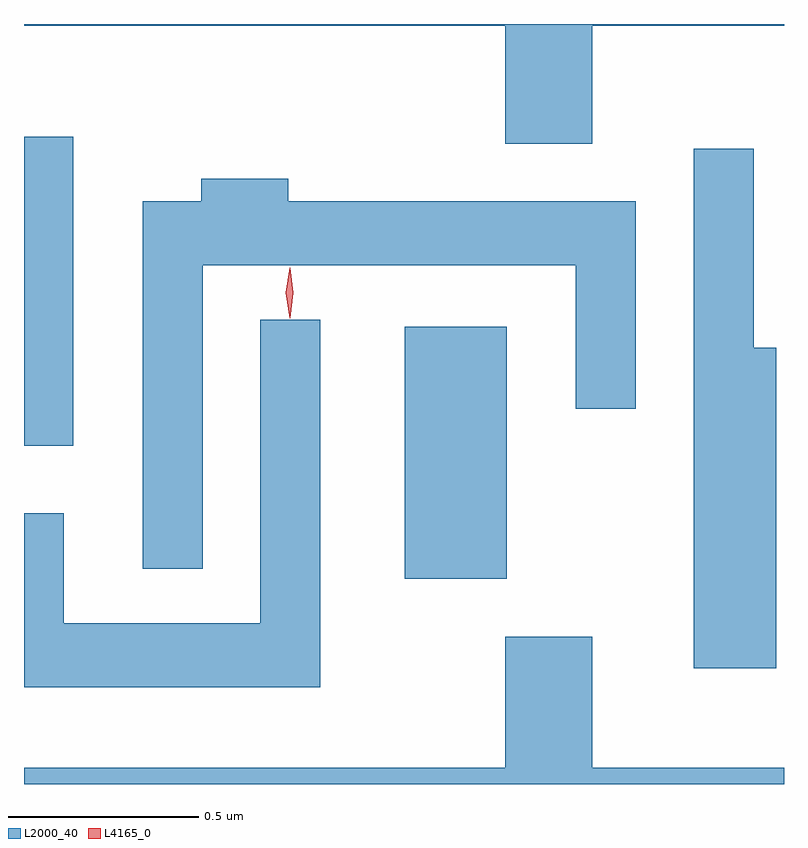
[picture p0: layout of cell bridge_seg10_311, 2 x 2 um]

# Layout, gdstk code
import gdstk
lib = gdstk.Library(unit=1e-6, precision=1e-09)
def R(c, l, rs):  # rectangles x0, y0, x1, y1
    for r in rs: c.add(gdstk.rectangle(r[:2], r[2:], *l))
def P(c, l, *ps):  # polygons
    for p in ps: c.add(gdstk.Polygon(p, *l))
L2000_40 = (2000, 40)
L4165_0 = (4165, 0)

bridge_seg10_311 = lib.new_cell('bridge_seg10_311')
R(bridge_seg10_311, L2000_40, [(1431.816,2194.601,1432.084,2195.264), (1430.814,2194.951,1430.944,2195.764)])
P(bridge_seg10_311, L2000_40, [(1432.309,2196.056),(1432.814,2196.056),(1432.814,2196.061),(1430.814,2196.061),(1430.814,2196.056),(1432.081,2196.056),(1432.081,2195.746),(1432.309,2195.746)],
  [(1432.794,2195.209),(1432.734,2195.209),(1432.734,2195.733),(1432.576,2195.733),(1432.576,2194.366),(1432.794,2194.366)],
  [(1431.284,2195.426),(1432.266,2195.426),(1432.266,2195.048),(1432.424,2195.048),(1432.424,2195.594),(1431.509,2195.594),(1431.509,2195.654),(1431.281,2195.654),(1431.281,2195.594),(1431.126,2195.594),(1431.126,2194.628),(1431.284,2194.628)],
  [(1431.594,2195.283),(1431.436,2195.283),(1431.436,2194.484),(1430.919,2194.484),(1430.919,2194.774),(1430.814,2194.774),(1430.814,2194.316),(1431.594,2194.316)],
  [(1432.814,2194.104),(1432.309,2194.104),(1432.309,2194.449),(1432.081,2194.449),(1432.081,2194.104),(1430.814,2194.104),(1430.814,2194.061),(1432.814,2194.061)])
P(bridge_seg10_311, L4165_0, [(1431.513,2195.287),(1431.503,2195.354),(1431.513,2195.42),(1431.513,2195.42),(1431.514,2195.42),(1431.523,2195.354),(1431.514,2195.287),(1431.514,2195.287)])

lib.write_gds('bridge_seg10_311.gds')
